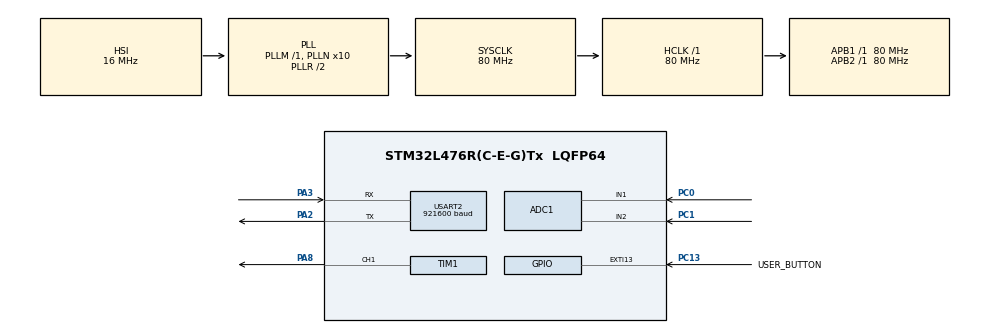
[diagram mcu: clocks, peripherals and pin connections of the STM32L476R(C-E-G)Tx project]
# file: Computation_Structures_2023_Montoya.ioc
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ADC1.Channel-0\#ChannelRegularConversion=ADC_CHANNEL_1
ADC1.Channel-1\#ChannelRegularConversion=ADC_CHANNEL_2
ADC1.ContinuousConvMode=ENABLE
ADC1.NbrOfConversion=2
ADC1.NbrOfConversionFlag=1
ADC1.OffsetNumber-0\#ChannelRegularConversion=ADC_OFFSET_NONE
ADC1.OffsetNumber-1\#ChannelRegularConversion=ADC_OFFSET_NONE
ADC1.Rank-0\#ChannelRegularConversion=1
ADC1.Rank-1\#ChannelRegularConversion=2
ADC1.SamplingTime-0\#ChannelRegularConversion=ADC_SAMPLETIME_2CYCLES_5
ADC1.SamplingTime-1\#ChannelRegularConversion=ADC_SAMPLETIME_2CYCLES_5
ADC1.master=1
Dma.Request0=USART2_TX
Dma.USART2_TX.0.Direction=DMA_MEMORY_TO_PERIPH
Dma.USART2_TX.0.Instance=DMA1_Channel7
Dma.USART2_TX.0.MemDataAlignment=DMA_MDATAALIGN_BYTE
Dma.USART2_TX.0.MemInc=DMA_MINC_ENABLE
Dma.USART2_TX.0.Mode=DMA_NORMAL
Dma.USART2_TX.0.PeriphDataAlignment=DMA_PDATAALIGN_BYTE
Dma.USART2_TX.0.PeriphInc=DMA_PINC_DISABLE
Dma.USART2_TX.0.Priority=DMA_PRIORITY_HIGH
Mcu.Family=STM32L4
Mcu.Name=STM32L476R(C-E-G)Tx
Mcu.Package=LQFP64
NVIC.DMA1_Channel7_IRQn=true\:0\:0\:false\:false\:true\:false\:true\:true
NVIC.EXTI15_10_IRQn=true\:0\:0\:false\:false\:true\:true\:true\:true
NVIC.PriorityGroup=NVIC_PRIORITYGROUP_4
NVIC.TIM7_IRQn=true\:0\:0\:false\:false\:true\:true\:true\:true
NVIC.USART2_IRQn=true\:0\:0\:false\:false\:true\:true\:true\:true
PA2.Mode=Asynchronous
PA2.Signal=USART2_TX
PA3.Mode=Asynchronous
PA3.Signal=USART2_RX
PA8.Signal=S_TIM1_CH1
PC0.Signal=ADCx_IN1
PC1.Signal=ADCx_IN2
PC13.GPIO_Label=USER_BUTTON
PC13.Signal=GPXTI13
ProjectManager.HeapSize=0x200
ProjectManager.StackSize=0x400
ProjectManager.TargetToolchain=STM32CubeIDE
RCC.ADCFreq_Value=64000000
RCC.AHBFreq_Value=80000000
RCC.APB1Freq_Value=80000000
RCC.APB1TimFreq_Value=80000000
RCC.APB2Freq_Value=80000000
RCC.APB2TimFreq_Value=80000000
RCC.CortexFreq_Value=80000000
RCC.HCLKFreq_Value=80000000
RCC.HSE_VALUE=8000000
RCC.HSI_VALUE=16000000
RCC.LSE_VALUE=32768
RCC.MSI_VALUE=4000000
RCC.PLLN=10
RCC.PLLSourceVirtual=RCC_PLLSOURCE_HSI
RCC.PREFETCH_ENABLE=1
RCC.SYSCLKFreq_VALUE=80000000
RCC.SYSCLKSource=RCC_SYSCLKSOURCE_PLLCLK
RCC.USBFreq_Value=64000000
RCC.VCOOutputFreq_Value=160000000
SH.ADCx_IN1.0=ADC1_IN1,IN1-Single-Ended
SH.ADCx_IN2.0=ADC1_IN2,IN2-Single-Ended
SH.S_TIM1_CH1.0=TIM1_CH1,PWM Generation1 CH1
TIM1.Channel-PWM\ Generation1\ CH1=TIM_CHANNEL_1
TIM1.Period=100
TIM1.Prescaler=800-1
TIM7.Period=10000-1
TIM7.Prescaler=8000-1
USART2.BaudRate=921600
USART2.VirtualMode-Asynchronous=VM_ASYNC
VP_TIM1_VS_ClockSourceINT.Mode=Internal
VP_TIM7_VS_ClockSourceINT.Mode=Enable_Timer
board=NUCLEO-L476RG

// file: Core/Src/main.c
/* USER CODE BEGIN Header */
/**
  ******************************************************************************
  * @file           : main.c
  * @brief          : Main program body
  ******************************************************************************
  * @attention
  *
  * Copyright (c) 2023 STMicroelectronics.
  * All rights reserved.
  *
  * This software is licensed under terms that can be found in the LICENSE file
  * in the root directory of this software component.
  * If no LICENSE file comes with this software, it is provided AS-IS.
  *
  ******************************************************************************
  */
/* USER CODE END Header */
#include "main.h"

/* USER CODE BEGIN Includes */
#include <stdio.h>
/* USER CODE END Includes */

ADC_HandleTypeDef hadc1;

TIM_HandleTypeDef htim1;
TIM_HandleTypeDef htim7;

UART_HandleTypeDef huart2;
DMA_HandleTypeDef hdma_usart2_tx;

void SystemClock_Config(void);
static void MX_GPIO_Init(void);
static void MX_DMA_Init(void);
static void MX_USART2_UART_Init(void);
static void MX_TIM7_Init(void);
static void MX_TIM1_Init(void);
static void MX_ADC1_Init(void);

/* USER CODE BEGIN 0 */

uint8_t Rx_data[8]; /* Declaration of a variable of 8 bytes size */
uint8_t Tx_busy=0;

int _write(int file, char *ptr, int len)
{
  while(Tx_busy !=0){/*wait*/}
  HAL_UART_Transmit_DMA(&huart2,(uint8_t *)ptr,len);
  Tx_busy=1;
  return len;
}

void HAL_UART_RxHalfCpltCallback(UART_HandleTypeDef *huart){ /*Declares a callback function to perform LED state change and generates an interrupt when 4 bytes are detected.*/
	HAL_GPIO_TogglePin(GPIOA,GPIO_PIN_5);/* Generates the change of state in the LED */
}
void HAL_UART_RxCpltCallback(UART_HandleTypeDef *huart){
	printf("Received complete[%s]\r\n ",Rx_data);
	HAL_UART_Receive_IT(&huart2,Rx_data,4);/* Generates interrupt when detecting 4 bytes. */
	HAL_GPIO_TogglePin(GPIOA,GPIO_PIN_5);

}
void HAL_UART_TxCpltCallback(UART_HandleTypeDef *huart){
	Tx_busy=0;
	HAL_GPIO_TogglePin(GPIOA,GPIO_PIN_5);
}

void HAL_TIM_PeriodElapsedCallback(TIM_HandleTypeDef *htim){
	static uint32_t counter=0;
	printf("counter: %ld\r\n", counter++);
}

void update_adc_channel(uint32_t new_channel)
{
	ADC_ChannelConfTypeDef sConfig = {0};
	/** Configure Regular Channel
	  */
	sConfig.Channel = new_channel;
	sConfig.Rank = ADC_REGULAR_RANK_1;
	sConfig.SamplingTime = ADC_SAMPLETIME_2CYCLES_5;
	sConfig.SingleDiff = ADC_SINGLE_ENDED;
	sConfig.OffsetNumber = ADC_OFFSET_NONE;
	sConfig.Offset = 0;
	if (HAL_ADC_ConfigChannel(&hadc1, &sConfig) != HAL_OK)
	{
		Error_Handler();
	}
}

/* USER CODE END 0 */

int main(void)
{

  /* MCU Configuration--------------------------------------------------------*/

  /* Reset of all peripherals, Initializes the Flash interface and the Systick. */
  HAL_Init();

  /* Configure the system clock */
  SystemClock_Config();

  /* Initialize all configured peripherals */
  MX_GPIO_Init();
  MX_DMA_Init();
  MX_USART2_UART_Init();
  MX_TIM7_Init();
  MX_TIM1_Init();
  MX_ADC1_Init();
  /* USER CODE BEGIN 2 */

  HAL_UART_Receive_IT(&huart2,Rx_data,1);/* It calls a function of the HAL library to receive data with uart and when the 4 bytes condition is met, it generates an interrupt.  */

  HAL_TIM_Base_Start_IT(&htim7);

  TIM1->CCR1=50;
  HAL_TIM_PWM_Start(&htim1,TIM_CHANNEL_1);

	/*uint8_t my_str[]="Hello World!\r\n";
  HAL_UART_Transmit(&huart2, my_str,sizeof(my_str)-1,10);*/

  for (uint8_t idx = 0;idx <= 0x0F; idx++)
	/*  printf("IDX 0x%02X\r\n", idx);*/
  /* USER CODE END 2 */

  /* Infinite loop */
  /* USER CODE BEGIN WHILE */
  /* Infinite loop */
  /* USER CODE BEGIN WHILE */
  while (1)
  {
	    update_adc_channel(ADC_CHANNEL_1);
	  	HAL_ADC_Start(&hadc1);
	  	HAL_ADC_PollForConversion(&hadc1, 10);
	  	uint16_t adc_value = HAL_ADC_GetValue(&hadc1);
	  	HAL_ADC_Stop(&hadc1);

	  	update_adc_channel(ADC_CHANNEL_2);
	  	HAL_ADC_Start(&hadc1);
	  	HAL_ADC_PollForConversion(&hadc1, 10);
	  	uint16_t adc_value2 = HAL_ADC_GetValue(&hadc1);
	  	HAL_ADC_Stop(&hadc1);

	  	float adc_voltage = (adc_value / 4096.0) * 3.3;
	  	float adc_voltage2 = (adc_value2 / 4096.0) * 3.3;
	  	printf("ADC Reading: %f, %f\r\n", adc_voltage, adc_voltage2);
	  	HAL_Delay(1000);

    /* USER CODE END WHILE */

  }
}

void SystemClock_Config(void)
{
  RCC_OscInitTypeDef RCC_OscInitStruct = {0};
  RCC_ClkInitTypeDef RCC_ClkInitStruct = {0};

  /** Configure the main internal regulator output voltage
  */
  if (HAL_PWREx_ControlVoltageScaling(PWR_REGULATOR_VOLTAGE_SCALE1) != HAL_OK)
  {
    Error_Handler();
  }

  /** Initializes the RCC Oscillators according to the specified parameters
  * in the RCC_OscInitTypeDef structure.
  */
  RCC_OscInitStruct.OscillatorType = RCC_OSCILLATORTYPE_HSI;
  RCC_OscInitStruct.HSIState = RCC_HSI_ON;
  RCC_OscInitStruct.HSICalibrationValue = RCC_HSICALIBRATION_DEFAULT;
  RCC_OscInitStruct.PLL.PLLState = RCC_PLL_ON;
  RCC_OscInitStruct.PLL.PLLSource = RCC_PLLSOURCE_HSI;
  RCC_OscInitStruct.PLL.PLLM = 1;
  RCC_OscInitStruct.PLL.PLLN = 10;
  RCC_OscInitStruct.PLL.PLLP = RCC_PLLP_DIV7;
  RCC_OscInitStruct.PLL.PLLQ = RCC_PLLQ_DIV2;
  RCC_OscInitStruct.PLL.PLLR = RCC_PLLR_DIV2;
  if (HAL_RCC_OscConfig(&RCC_OscInitStruct) != HAL_OK)
  {
    Error_Handler();
  }

  /** Initializes the CPU, AHB and APB buses clocks
  */
  RCC_ClkInitStruct.ClockType = RCC_CLOCKTYPE_HCLK|RCC_CLOCKTYPE_SYSCLK
                              |RCC_CLOCKTYPE_PCLK1|RCC_CLOCKTYPE_PCLK2;
  RCC_ClkInitStruct.SYSCLKSource = RCC_SYSCLKSOURCE_PLLCLK;
  RCC_ClkInitStruct.AHBCLKDivider = RCC_SYSCLK_DIV1;
  RCC_ClkInitStruct.APB1CLKDivider = RCC_HCLK_DIV1;
  RCC_ClkInitStruct.APB2CLKDivider = RCC_HCLK_DIV1;

  if (HAL_RCC_ClockConfig(&RCC_ClkInitStruct, FLASH_LATENCY_4) != HAL_OK)
  {
    Error_Handler();
  }
}

static void MX_ADC1_Init(void)
{

  ADC_MultiModeTypeDef multimode = {0};
  ADC_ChannelConfTypeDef sConfig = {0};

  /** Common config
  */
  hadc1.Instance = ADC1;
  hadc1.Init.ClockPrescaler = ADC_CLOCK_ASYNC_DIV1;
  hadc1.Init.Resolution = ADC_RESOLUTION_12B;
  hadc1.Init.DataAlign = ADC_DATAALIGN_RIGHT;
  hadc1.Init.ScanConvMode = ADC_SCAN_ENABLE;
  hadc1.Init.EOCSelection = ADC_EOC_SINGLE_CONV;
  hadc1.Init.LowPowerAutoWait = DISABLE;
  hadc1.Init.ContinuousConvMode = ENABLE;
  hadc1.Init.NbrOfConversion = 2;
  hadc1.Init.DiscontinuousConvMode = DISABLE;
  hadc1.Init.ExternalTrigConv = ADC_SOFTWARE_START;
  hadc1.Init.ExternalTrigConvEdge = ADC_EXTERNALTRIGCONVEDGE_NONE;
  hadc1.Init.DMAContinuousRequests = DISABLE;
  hadc1.Init.Overrun = ADC_OVR_DATA_PRESERVED;
  hadc1.Init.OversamplingMode = DISABLE;
  if (HAL_ADC_Init(&hadc1) != HAL_OK)
  {
    Error_Handler();
  }

  /** Configure the ADC multi-mode
  */
  multimode.Mode = ADC_MODE_INDEPENDENT;
  if (HAL_ADCEx_MultiModeConfigChannel(&hadc1, &multimode) != HAL_OK)
  {
    Error_Handler();
  }

  /** Configure Regular Channel
  */
  sConfig.Channel = ADC_CHANNEL_1;
  sConfig.Rank = ADC_REGULAR_RANK_1;
  sConfig.SamplingTime = ADC_SAMPLETIME_2CYCLES_5;
  sConfig.SingleDiff = ADC_SINGLE_ENDED;
  sConfig.OffsetNumber = ADC_OFFSET_NONE;
  sConfig.Offset = 0;
  if (HAL_ADC_ConfigChannel(&hadc1, &sConfig) != HAL_OK)
  {
    Error_Handler();
  }

  /** Configure Regular Channel
  */
  sConfig.Channel = ADC_CHANNEL_2;
  sConfig.Rank = ADC_REGULAR_RANK_2;
  if (HAL_ADC_ConfigChannel(&hadc1, &sConfig) != HAL_OK)
  {
    Error_Handler();
  }

}

static void MX_TIM1_Init(void)
{

  TIM_ClockConfigTypeDef sClockSourceConfig = {0};
  TIM_MasterConfigTypeDef sMasterConfig = {0};
  TIM_OC_InitTypeDef sConfigOC = {0};
  TIM_BreakDeadTimeConfigTypeDef sBreakDeadTimeConfig = {0};

  htim1.Instance = TIM1;
  htim1.Init.Prescaler = 800-1;
  htim1.Init.CounterMode = TIM_COUNTERMODE_UP;
  htim1.Init.Period = 100;
  htim1.Init.ClockDivision = TIM_CLOCKDIVISION_DIV1;
  htim1.Init.RepetitionCounter = 0;
  htim1.Init.AutoReloadPreload = TIM_AUTORELOAD_PRELOAD_DISABLE;
  if (HAL_TIM_Base_Init(&htim1) != HAL_OK)
  {
    Error_Handler();
  }
  sClockSourceConfig.ClockSource = TIM_CLOCKSOURCE_INTERNAL;
  if (HAL_TIM_ConfigClockSource(&htim1, &sClockSourceConfig) != HAL_OK)
  {
    Error_Handler();
  }
  if (HAL_TIM_PWM_Init(&htim1) != HAL_OK)
  {
    Error_Handler();
  }
  sMasterConfig.MasterOutputTrigger = TIM_TRGO_RESET;
  sMasterConfig.MasterOutputTrigger2 = TIM_TRGO2_RESET;
  sMasterConfig.MasterSlaveMode = TIM_MASTERSLAVEMODE_DISABLE;
  if (HAL_TIMEx_MasterConfigSynchronization(&htim1, &sMasterConfig) != HAL_OK)
  {
    Error_Handler();
  }
  sConfigOC.OCMode = TIM_OCMODE_PWM1;
  sConfigOC.Pulse = 0;
  sConfigOC.OCPolarity = TIM_OCPOLARITY_HIGH;
  sConfigOC.OCNPolarity = TIM_OCNPOLARITY_HIGH;
  sConfigOC.OCFastMode = TIM_OCFAST_DISABLE;
  sConfigOC.OCIdleState = TIM_OCIDLESTATE_RESET;
  sConfigOC.OCNIdleState = TIM_OCNIDLESTATE_RESET;
  if (HAL_TIM_PWM_ConfigChannel(&htim1, &sConfigOC, TIM_CHANNEL_1) != HAL_OK)
  {
    Error_Handler();
  }
  sBreakDeadTimeConfig.OffStateRunMode = TIM_OSSR_DISABLE;
  sBreakDeadTimeConfig.OffStateIDLEMode = TIM_OSSI_DISABLE;
  sBreakDeadTimeConfig.LockLevel = TIM_LOCKLEVEL_OFF;
  sBreakDeadTimeConfig.DeadTime = 0;
  sBreakDeadTimeConfig.BreakState = TIM_BREAK_DISABLE;
  sBreakDeadTimeConfig.BreakPolarity = TIM_BREAKPOLARITY_HIGH;
  sBreakDeadTimeConfig.BreakFilter = 0;
  sBreakDeadTimeConfig.Break2State = TIM_BREAK2_DISABLE;
  sBreakDeadTimeConfig.Break2Polarity = TIM_BREAK2POLARITY_HIGH;
  sBreakDeadTimeConfig.Break2Filter = 0;
  sBreakDeadTimeConfig.AutomaticOutput = TIM_AUTOMATICOUTPUT_DISABLE;
  if (HAL_TIMEx_ConfigBreakDeadTime(&htim1, &sBreakDeadTimeConfig) != HAL_OK)
  {
    Error_Handler();
  }
  HAL_TIM_MspPostInit(&htim1);

}

static void MX_TIM7_Init(void)
{

  TIM_MasterConfigTypeDef sMasterConfig = {0};

  htim7.Instance = TIM7;
  htim7.Init.Prescaler = 8000-1;
  htim7.Init.CounterMode = TIM_COUNTERMODE_UP;
  htim7.Init.Period = 10000-1;
  htim7.Init.AutoReloadPreload = TIM_AUTORELOAD_PRELOAD_DISABLE;
  if (HAL_TIM_Base_Init(&htim7) != HAL_OK)
  {
    Error_Handler();
  }
  sMasterConfig.MasterOutputTrigger = TIM_TRGO_RESET;
  sMasterConfig.MasterSlaveMode = TIM_MASTERSLAVEMODE_DISABLE;
  if (HAL_TIMEx_MasterConfigSynchronization(&htim7, &sMasterConfig) != HAL_OK)
  {
    Error_Handler();
  }

}

static void MX_USART2_UART_Init(void)
{

  huart2.Instance = USART2;
  huart2.Init.BaudRate = 921600;
  huart2.Init.WordLength = UART_WORDLENGTH_8B;
  huart2.Init.StopBits = UART_STOPBITS_1;
  huart2.Init.Parity = UART_PARITY_NONE;
  huart2.Init.Mode = UART_MODE_TX_RX;
  huart2.Init.HwFlowCtl = UART_HWCONTROL_NONE;
  huart2.Init.OverSampling = UART_OVERSAMPLING_16;
  huart2.Init.OneBitSampling = UART_ONE_BIT_SAMPLE_DISABLE;
  huart2.AdvancedInit.AdvFeatureInit = UART_ADVFEATURE_NO_INIT;
  if (HAL_UART_Init(&huart2) != HAL_OK)
  {
    Error_Handler();
  }

}

static void MX_DMA_Init(void)
{

  /* DMA controller clock enable */
  __HAL_RCC_DMA1_CLK_ENABLE();

  /* DMA interrupt init */
  /* DMA1_Channel7_IRQn interrupt configuration */
  HAL_NVIC_SetPriority(DMA1_Channel7_IRQn, 0, 0);
  HAL_NVIC_EnableIRQ(DMA1_Channel7_IRQn);

}

static void MX_GPIO_Init(void)
{
  GPIO_InitTypeDef GPIO_InitStruct = {0};

  /* GPIO Ports Clock Enable */
  __HAL_RCC_GPIOC_CLK_ENABLE();
  __HAL_RCC_GPIOA_CLK_ENABLE();

  /*Configure GPIO pin : USER_BUTTON_Pin */
  GPIO_InitStruct.Pin = USER_BUTTON_Pin;
  GPIO_InitStruct.Mode = GPIO_MODE_IT_RISING;
  GPIO_InitStruct.Pull = GPIO_NOPULL;
  HAL_GPIO_Init(USER_BUTTON_GPIO_Port, &GPIO_InitStruct);

  /* EXTI interrupt init*/
  HAL_NVIC_SetPriority(EXTI15_10_IRQn, 0, 0);
  HAL_NVIC_EnableIRQ(EXTI15_10_IRQn);

}

void Error_Handler(void)
{
  __disable_irq();
  while (1)
  {
  }
}
